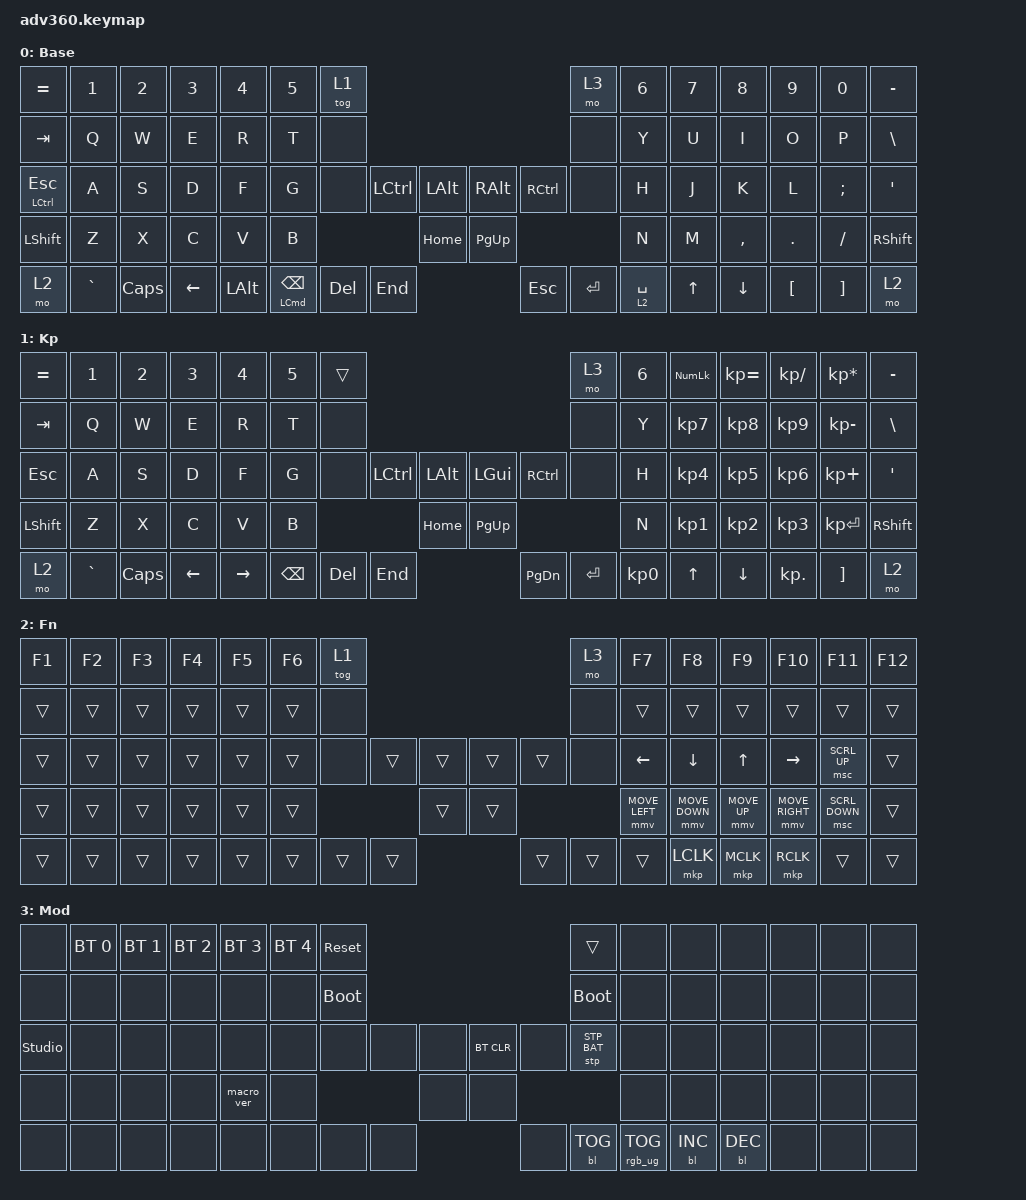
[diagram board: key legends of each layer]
#include <behaviors.dtsi>
#include <dt-bindings/zmk/keys.h>
#include <dt-bindings/zmk/bt.h>
#include <dt-bindings/zmk/rgb.h>
#include <dt-bindings/zmk/stp.h>
#include <dt-bindings/zmk/backlight.h>
#include <dt-bindings/zmk/pointing.h>


/* TODO: */
/*   - double tap shift for CAPS WORD */
/*   - volume up down */
/*   - brightness up down */
/*   - play/pause/prev/next */
/**/

/* Increase mouse speed. TODO: test if I should just pass it in parens */
#define ZMK_POINTING_DEFAULT_MOVE_VAL 2000
&mmv {
    x-input-code = <INPUT_REL_X>;
    y-input-code = <INPUT_REL_Y>;
    time-to-max-speed-ms = <750>;
    acceleration-exponent = <1>;
};

&lt {
  quick-tap-ms = <200>;
};

&mt {
  quick-tap-ms = <200>;
};

/ {
    behaviors {
      #include "macros.dtsi"
      #include "version.dtsi"

      hm: homerow_mods {
          compatible = "zmk,behavior-hold-tap";
          label = "HOMEROW_MODS";
          #binding-cells = <2>;
          tapping-term-ms = <200>;
          quick-tap-ms = <175>;
          flavor = "tap-preferred";
          bindings = <&kp>, <&kp>;
      };
    };

  keymap {
    compatible = "zmk,keymap";

    default_layer {
      display-name = "Base";
      bindings = <
        &kp EQUAL       &kp N1    &kp N2   &kp N3   &kp N4     &kp N5 &tog 1                                                                  &mo 3 &kp N6 &kp N7 &kp N8    &kp N9   &kp N0   &kp MINUS
        &kp TAB         &kp Q     &kp W    &kp E    &kp R      &kp T  &none                                                                   &none &kp Y  &kp U  &kp I     &kp O    &kp P    &kp BSLH
        &mt LCTRL ESC   &kp A     &kp S    &kp D    &kp F      &kp G  &none                &kp LCTRL &kp LALT &kp RALT  &kp RCTRL             &none &kp H  &kp J  &kp K     &kp L    &kp SEMI &kp SQT
        &kp LSHFT       &kp Z     &kp X    &kp C    &kp V      &kp B                                 &kp HOME &kp PG_UP                             &kp N  &kp M  &kp COMMA &kp DOT  &kp FSLH &kp RSHFT
        &mo 2           &kp GRAVE &kp CAPS &kp LEFT &kp LALT                 &mt LCMD BSPC &kp DEL   &kp END  &kp ESC   &kp ENTER &lt 2 SPACE             &kp UP &kp DOWN  &kp LBKT &kp RBKT &mo 2
      >;
    };
    keypad {
      display-name = "Kp";
      bindings = <
        &kp EQUAL &kp N1    &kp N2   &kp N3   &kp N4     &kp N5 &trans                                                           &mo 3 &kp N6 &kp KP_NUM &kp KP_EQUAL &kp KP_DIVIDE &kp KP_MULTIPLY &kp MINUS
        &kp TAB   &kp Q     &kp W    &kp E    &kp R      &kp T  &none                                                            &none &kp Y  &kp KP_N7  &kp KP_N8    &kp KP_N9     &kp KP_MINUS    &kp BSLH
        &kp ESC   &kp A     &kp S    &kp D    &kp F      &kp G  &none           &kp LCTRL &kp LALT &kp LGUI  &kp RCTRL           &none &kp H  &kp KP_N4  &kp KP_N5    &kp KP_N6     &kp KP_PLUS     &kp SQT
        &kp LSHFT &kp Z     &kp X    &kp C    &kp V      &kp B                            &kp HOME &kp PG_UP                           &kp N  &kp KP_N1  &kp KP_N2    &kp KP_N3     &kp KP_ENTER    &kp RSHFT
        &mo 2     &kp GRAVE &kp CAPS &kp LEFT &kp RIGHT                &kp BSPC &kp DEL   &kp END  &kp PG_DN &kp ENTER &kp KP_N0              &kp UP     &kp DOWN     &kp KP_DOT    &kp RBKT        &mo 2
      >;
    };
    fn {
      display-name = "Fn";
      bindings = <
        &kp F1 &kp F2 &kp F3 &kp F4 &kp F5 &kp F6 &tog 1                                           &mo 3 &kp F7         &kp F8         &kp F9       &kp F10         &kp F11         &kp F12
        &trans &trans &trans &trans &trans &trans  &none                                           &none &trans         &trans         &trans       &trans          &trans          &trans
        &trans &trans &trans &trans &trans &trans  &none        &trans &trans &trans &trans        &none &kp LEFT       &kp DOWN       &kp UP       &kp RIGHT       &msc SCRL_UP    &trans
        &trans &trans &trans &trans &trans &trans                      &trans &trans                     &mmv MOVE_LEFT &mmv MOVE_DOWN &mmv MOVE_UP &mmv MOVE_RIGHT &msc SCRL_DOWN  &trans
        &trans &trans &trans &trans &trans               &trans &trans &trans &trans &trans &trans                      &mkp LCLK      &mkp MCLK    &mkp RCLK       &trans          &trans
      >;
    };
    mod {
      display-name = "Mod";
      bindings = <
        &none          &bt BT_SEL 0 &bt BT_SEL 1 &bt BT_SEL 2 &bt BT_SEL 3 &bt BT_SEL 4 &sys_reset                                                                &trans             &none        &none        &none        &none &none &none
        &none          &none        &none        &none        &none        &none        &bootloader                                                               &bootloader        &none        &none        &none        &none &none &none
        &studio_unlock &none        &none        &none        &none        &none        &none                   &none &none &bt BT_CLR &none                      &stp STP_BAT &none &none        &none        &none &none &none
        &none          &none        &none        &none        &macro_ver   &none                                      &none &none                                                    &none        &none        &none        &none &none &none
        &none          &none        &none        &none        &none                                       &none &none &none &none &bl BL_TOG &rgb_ug RGB_TOG                                      &bl BL_INC   &bl BL_DEC   &none &none &none
      >;
    };
    extra1 { 
      display-name = "Red";    
      status = "reserved";
    };

    extra2 { 
      display-name = "Purple";    
      status = "reserved";
    };

    extra3 { 
      display-name = "Cyan";    
      status = "reserved";
    };

    extra4 { 
      display-name = "Yellow";    
      status = "reserved";
    };
  };
};
